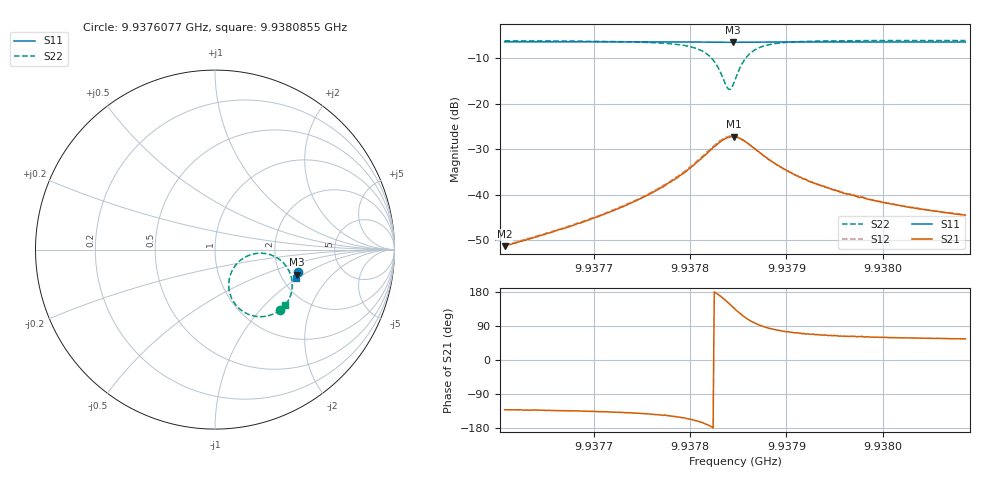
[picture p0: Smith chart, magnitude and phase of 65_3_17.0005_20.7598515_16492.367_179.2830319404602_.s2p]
#  HZ  S  RI  R  50.00
! Rohde & Schwarz Vector Network Analyzer
! Rohde-Schwarz,ZNB20-2Port,1311601062101988,3.16
! Created: UTC 3/20/2024, 10:54:59 PM
! freq[Hz]  re:S11  im:S11  re:S21  im:S21  re:S12  im:S12  re:S22  im:S22
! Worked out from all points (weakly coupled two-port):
!   401 points, 9.9376077 GHz to 9.9380855 GHz, reference 50 ohm
!   highest |S21| = -27.18 dB at 9.9378454 GHz (marker M1); lowest = -51.3 dB at 9.9376077 GHz (marker M2)
!   lowest |S11| = -6.4 dB at 9.9378442 GHz (marker M3), VSWR 2.82, Z = 122 - j43.9 ohm
!   |S11| at or under -10 dB: nowhere
!   |S22| runs from -16.8 to -6.0 dB; largest |S21 - S12| = 0.0026
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9.93760766e9  0.4651 -0.1262  -0.00179 -0.00206  -0.00187 -0.00206  0.3636 -0.3356
9.93768771e9  0.4631 -0.1318  -0.00352 -0.00353  -0.00361 -0.00356  0.3439 -0.3488
9.9377331e9  0.4619 -0.135  -0.00579 -0.00501  -0.00598 -0.00505  0.3218 -0.3601
9.93776775e9  0.4608 -0.1375  -0.00948 -0.00673  -0.00979 -0.00673  0.2874 -0.3706
9.93779642e9  0.4593 -0.1396  -0.0165 -0.00789  -0.0172 -0.00782  0.2258 -0.3719
9.93781315e9  0.4578 -0.1407  -0.0253 -0.00645  -0.0261 -0.00574  0.1573 -0.3453
9.93782031e9  0.4569 -0.141  -0.0303 -0.00329  -0.0315 -0.00233  0.1193 -0.3123
9.93782629e9  0.4561 -0.141  -0.0344 0.00155  -0.0357 0.00265  0.0906 -0.2663
9.93783346e9  0.4554 -0.1404  -0.0384 0.0106  -0.039 0.0127  0.077 -0.1841
9.93783943e9  0.4551 -0.1395  -0.0376 0.0204  -0.0375 0.0231  0.1021 -0.1052
9.93784182e9  0.4551 -0.1392  -0.0359 0.0245  -0.0354 0.0269  0.1232 -0.0769
9.93784421e9  0.4552 -0.1389  -0.0334 0.0282  -0.0325 0.0304  0.1494 -0.0536
9.9378454e9  0.4554 -0.1388  -0.032 0.0298  -0.0309 0.0318  0.1646 -0.0439
9.9378466e9  0.4554 -0.1385  -0.0302 0.0309  -0.0291 0.0332  0.18 -0.0358
9.93785257e9  0.4563 -0.1383  -0.0213 0.0352  -0.0195 0.0366  0.2588 -0.02
9.93785735e9  0.4571 -0.1385  -0.0144 0.0357  -0.0126 0.0364  0.3134 -0.0304
9.9378693e9  0.4582 -0.1395  -0.0027 0.0307  -0.00154 0.0307  0.3944 -0.0895
9.93789558e9  0.4586 -0.1424  0.0047 0.0192  0.00521 0.0192  0.4306 -0.191
9.93792664e9  0.4581 -0.1452  0.0052 0.0128  0.00549 0.0127  0.4244 -0.244
9.93796129e9  0.4574 -0.1478  0.00478 0.00911  0.0049 0.0092  0.4141 -0.2721
9.93800668e9  0.4563 -0.151  0.00411 0.00686  0.00425 0.00685  0.4037 -0.2916
9.93808553e9  0.454 -0.1562  0.00337 0.00497  0.00348 0.00494  0.3912 -0.3097
